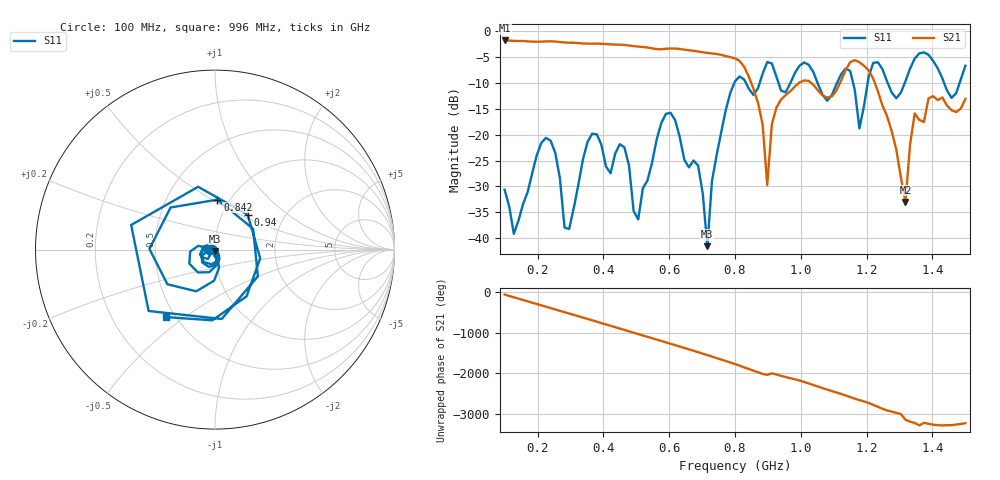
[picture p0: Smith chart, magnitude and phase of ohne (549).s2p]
! NanoVNA-App
! Date: 2025-09-25 14:25:04
! Start: 100MHz Stop: 1,5GHz Points: 101
! S-Parameter data: F S11 S21 S12 S22
# Hz S RI R 50
!  Frequency  S11_Real  S11_Imag  S21_Real  S21_Imag  S12_Real  S12_Imag  S22_Real  S22_Imag
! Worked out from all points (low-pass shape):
!   101 points, 100 MHz to 1.5 GHz, reference 50 ohm
!   highest |S21| = -1.79 dB at 100 MHz (marker M1); lowest = -33.0 dB at 1.318 GHz (marker M2)
!   |S21| within 3 dB of the highest: start of sweep to 771 MHz
!   lowest |S11| = -41.5 dB at 716 MHz (marker M3), VSWR 1.02, Z = 49.8 - j0.818 ohm
!   |S11| at or under -10 dB: start of sweep to 798 MHz; 833.2 MHz to 875.1 MHz (41.85 MHz wide, 4.9 % of centre); 1.051 GHz to 1.11 GHz (59.24 MHz wide, 5.48 % of centre) (the widest 3 of 7)
!   S12 and S22 are empty: the file has one direction only
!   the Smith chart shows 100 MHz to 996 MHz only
!   S11 on the Smith chart (normalised r, x): 100 MHz: 0.94, -0.01; 842 MHz: 0.88, +0.53; 940 MHz: 1.31, +0.55; 996 MHz: 0.45, -0.43
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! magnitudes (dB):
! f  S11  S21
! 100 MHz  -30.6  -1.8
! 128 MHz  -39.2  -1.9
! 226 MHz  -20.6  -2.0
! 296 MHz  -38.2  -2.2
! 338 MHz  -24.8  -2.4
! 464 MHz  -22.4  -2.7
! 506 MHz  -36.4  -3.0
! 576 MHz  -17.7  -3.5
! 688 MHz  -26.0  -3.9
! 716 MHz  -41.5  -4.2
! 800 MHz  -9.7  -5.3
! 842 MHz  -11.1  -8.8
! 898 MHz  -6.0  -29.7
! 940 MHz  -11.5  -13.2
! 996 MHz  -6.7  -9.9
! 1.038 GHz  -7.9  -10.3
! 1.178 GHz  -18.8  -6.0
! 1.22 GHz  -6.1  -9.2
! 1.276 GHz  -11.8  -19.3
! 1.318 GHz  -9.7  -33.0
! 1.346 GHz  -5.3  -15.9
! 1.5 GHz  -6.7  -13.1
